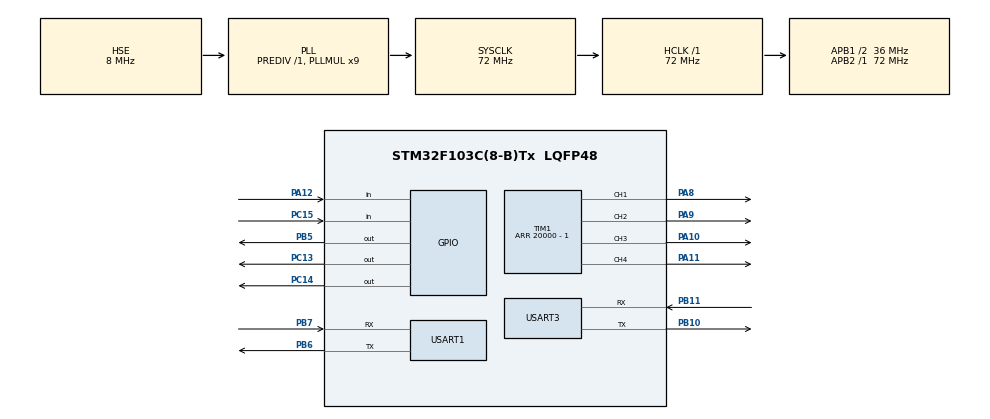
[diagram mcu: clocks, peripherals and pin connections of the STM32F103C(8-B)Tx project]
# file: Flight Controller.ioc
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Dma.Request0=USART3_RX
Dma.Request1=USART1_RX
Dma.USART1_RX.1.Direction=DMA_PERIPH_TO_MEMORY
Dma.USART1_RX.1.Instance=DMA1_Channel5
Dma.USART1_RX.1.MemDataAlignment=DMA_MDATAALIGN_BYTE
Dma.USART1_RX.1.MemInc=DMA_MINC_ENABLE
Dma.USART1_RX.1.Mode=DMA_CIRCULAR
Dma.USART1_RX.1.PeriphDataAlignment=DMA_PDATAALIGN_BYTE
Dma.USART1_RX.1.PeriphInc=DMA_PINC_DISABLE
Dma.USART1_RX.1.Priority=DMA_PRIORITY_LOW
Dma.USART3_RX.0.Direction=DMA_PERIPH_TO_MEMORY
Dma.USART3_RX.0.Instance=DMA1_Channel3
Dma.USART3_RX.0.MemDataAlignment=DMA_MDATAALIGN_BYTE
Dma.USART3_RX.0.MemInc=DMA_MINC_ENABLE
Dma.USART3_RX.0.Mode=DMA_CIRCULAR
Dma.USART3_RX.0.PeriphDataAlignment=DMA_PDATAALIGN_BYTE
Dma.USART3_RX.0.PeriphInc=DMA_PINC_DISABLE
Dma.USART3_RX.0.Priority=DMA_PRIORITY_LOW
Mcu.Family=STM32F1
Mcu.Name=STM32F103C(8-B)Tx
Mcu.Package=LQFP48
NVIC.DMA1_Channel3_IRQn=true\:1\:0\:true\:false\:true\:false\:true
NVIC.DMA1_Channel5_IRQn=true\:2\:0\:true\:false\:true\:false\:true
NVIC.PriorityGroup=NVIC_PRIORITYGROUP_4
PA10.Signal=S_TIM1_CH3
PA11.Signal=S_TIM1_CH4
PA12.GPIO_PuPd=GPIO_PULLUP
PA12.Signal=GPIO_Input
PA13.Mode=Serial_Wire
PA13.Signal=SYS_JTMS-SWDIO
PA14.Mode=Serial_Wire
PA14.Signal=SYS_JTCK-SWCLK
PA8.Signal=S_TIM1_CH1
PA9.Signal=S_TIM1_CH2
PB10.Mode=Asynchronous
PB10.Signal=USART3_TX
PB11.Mode=Asynchronous
PB11.Signal=USART3_RX
PB5.Signal=GPIO_Output
PB6.Mode=Asynchronous
PB6.Signal=USART1_TX
PB7.Mode=Asynchronous
PB7.Signal=USART1_RX
PC13-TAMPER-RTC.Signal=GPIO_Output
PC14-OSC32_IN.Signal=GPIO_Output
PC15-OSC32_OUT.GPIO_PuPd=GPIO_PULLUP
PC15-OSC32_OUT.Signal=GPIO_Input
PD0-OSC_IN.Mode=HSE-External-Oscillator
PD0-OSC_IN.Signal=RCC_OSC_IN
PD1-OSC_OUT.Mode=HSE-External-Oscillator
PD1-OSC_OUT.Signal=RCC_OSC_OUT
ProjectManager.HeapSize=0x200
ProjectManager.StackSize=0x400
ProjectManager.TargetToolchain=STM32CubeIDE
RCC.AHBFreq_Value=72000000
RCC.APB1CLKDivider=RCC_HCLK_DIV2
RCC.APB1Freq_Value=36000000
RCC.APB1TimFreq_Value=72000000
RCC.APB2Freq_Value=72000000
RCC.APB2TimFreq_Value=72000000
RCC.HCLKFreq_Value=72000000
RCC.PLLMUL=RCC_PLL_MUL9
RCC.PLLSourceVirtual=RCC_PLLSOURCE_HSE
RCC.SYSCLKFreq_VALUE=72000000
RCC.SYSCLKSource=RCC_SYSCLKSOURCE_PLLCLK
RCC.USBFreq_Value=72000000
SH.S_TIM1_CH1.0=TIM1_CH1,PWM Generation1 CH1
SH.S_TIM1_CH2.0=TIM1_CH2,PWM Generation2 CH2
SH.S_TIM1_CH3.0=TIM1_CH3,PWM Generation3 CH3
SH.S_TIM1_CH4.0=TIM1_CH4,PWM Generation4 CH4
TIM1.Channel-PWM\ Generation1\ CH1=TIM_CHANNEL_1
TIM1.Channel-PWM\ Generation2\ CH2=TIM_CHANNEL_2
TIM1.Channel-PWM\ Generation3\ CH3=TIM_CHANNEL_3
TIM1.Channel-PWM\ Generation4\ CH4=TIM_CHANNEL_4
TIM1.Period=20000 - 1
TIM1.Prescaler=(72000000/(50 * 20000))-1
USART1.VirtualMode=VM_ASYNC
USART3.VirtualMode=VM_ASYNC
board=custom

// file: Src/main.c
/* USER CODE BEGIN Header */
/**
  ******************************************************************************
  * @file           : main.c
  * @brief          : Main program body
  ******************************************************************************
  * @attention
  *
  * <h2><center>&copy; Copyright (c) 2019 STMicroelectronics.
  * All rights reserved.</center></h2>
  *
  * This software component is licensed by ST under BSD 3-Clause license,
  * the "License"; You may not use this file except in compliance with the
  * License. You may obtain a copy of the License at:
  *                        opensource.org/licenses/BSD-3-Clause
  *
  ******************************************************************************
 /*
 *  Created on: Sep 14, 2019
 *      Author: Renardi Adryantoro P
 				Polteknik elektronika negeri suarabaya
 				Computer Engineering 2016
*/

/* USER CODE END Header */

#include "main.h"
#include "stdio.h"
/* USER CODE BEGIN Includes */
#include "GlobalVariable.h"
/* USER CODE END Includes */

TIM_HandleTypeDef htim1;

UART_HandleTypeDef huart1;
UART_HandleTypeDef huart3;
DMA_HandleTypeDef hdma_usart1_rx;
DMA_HandleTypeDef hdma_usart3_rx;

/* USER CODE BEGIN PV */
varPID GyroYAW,GyroPITCH,GyroROLL;
int yawMAX,pitchMAX,rollMAX;
int prevMode;
char flagdroneARM;
char flagparsingIMU,flagparsingReceiver;
uint8_t data1[60];
/* USER CODE END PV */

void SystemClock_Config(void);
static void MX_GPIO_Init(void);
static void MX_DMA_Init(void);
static void MX_TIM1_Init(void);
static void MX_USART3_UART_Init(void);
static void MX_USART1_UART_Init(void);

/* USER CODE BEGIN 0 */
void buzzControl(int repeate,int delay){
static int rep;
rep = repeate;
digitalWrite(BuzzPORT,BuzzPIN,LOW);
	while(rep){
		digitalWrite(BuzzPORT,BuzzPIN,HIGH);
		HAL_Delay(delay);
		digitalWrite(BuzzPORT,BuzzPIN,LOW);
		HAL_Delay(delay);
	rep--;
	}
	digitalWrite(BuzzPORT,BuzzPIN,LOW);
}

void ledControl(int repeate,int delay){

static int rep;
rep = repeate;
digitalWrite(LED1PORT,LED1PIN,LOW);
	while(rep){
		digitalWrite(LED1PORT,LED1PIN,HIGH);
		HAL_Delay(delay);
		digitalWrite(LED1PORT,LED1PIN,LOW);
		HAL_Delay(delay);
	rep--;
	}
	digitalWrite(LED1PORT,LED1PIN,LOW);
}

/* USER CODE END 0 */

int main(void)
{

  /* MCU Configuration--------------------------------------------------------*/

  /* Reset of all peripherals, Initializes the Flash interface and the Systick. */
  HAL_Init();

  /* Configure the system clock */
  SystemClock_Config();

  /* Initialize all configured peripherals */
  MX_GPIO_Init();
  MX_DMA_Init();
  MX_TIM1_Init();
  MX_USART3_UART_Init();
  MX_USART1_UART_Init();
  /* USER CODE BEGIN 2 */
  InitializeTimer();
  InitSerialIMU_DMA();
  InitSerialReceiver_DMA();
  HAL_Delay(2500);

  resetIMU();
  digitalWrite(GPIOB,GPIO_PIN_5,HIGH);
    HAL_Delay(200);
    digitalWrite(GPIOB,GPIO_PIN_5,LOW);
    HAL_Delay(100);
    digitalWrite(GPIOB,GPIO_PIN_5,HIGH);
    HAL_Delay(50);
    digitalWrite(GPIOB,GPIO_PIN_5,LOW);

 //==Pid constanta===
  GyroYAW.kp = 0.02;   GyroYAW.kd = 0.00125; GyroYAW.ki = 0.000;

  GyroROLL.kp = 0.08; GyroROLL.kd = 0.0155; GyroROLL.ki = 0.00;

  GyroPITCH.kp = 0.06;GyroPITCH.kd = 0.015;GyroPITCH.ki = 0.0025;
 //==================

  //PID Setpoint Initiate
  GyroYAW.setPoint = GyroROLL.setPoint = GyroPITCH.setPoint = 0;
  //==================
  //init Essensial Variable
  yawReceive   = 400;
  pitchReceive = 50;
  rollReceive  = 50;

  //Bounding to ESC
  int InitializePulse = 1000;
	__HAL_TIM_SET_COMPARE(&htim1,TIM_CHANNEL_1,InitializePulse);
	__HAL_TIM_SET_COMPARE(&htim1,TIM_CHANNEL_2,InitializePulse);
	__HAL_TIM_SET_COMPARE(&htim1,TIM_CHANNEL_3,InitializePulse);
	__HAL_TIM_SET_COMPARE(&htim1,TIM_CHANNEL_4,InitializePulse);
	  HAL_Delay(2000);

  digitalWrite(GPIOB,GPIO_PIN_5,HIGH);
  HAL_Delay(200);
  digitalWrite(GPIOB,GPIO_PIN_5,LOW);
  HAL_Delay(200);
  digitalWrite(GPIOB,GPIO_PIN_5,HIGH);
  HAL_Delay(100);
  digitalWrite(GPIOB,GPIO_PIN_5,LOW);

  /* USER CODE END 2 */

  /* Infinite loop */
  while (1)
  {

    /* USER CODE BEGIN 3 */

		  //Button 1
		  if(digitalRead(BUTTON1PORT,BUTTON1PIN)==LOW){
			  HAL_Delay(1);
			  while(digitalRead(BUTTON1PORT,BUTTON1PIN)==LOW){}
			  if(digitalRead(BUTTON1PORT,BUTTON1PIN)==HIGH){ flagdroneARM=LOW; resetIMU();HAL_Delay(500);buzzControl(5,150);}
		  }
		  //BUtton 1 END

		  //Button 2
		  if(digitalRead(BUTTON2PORT,BUTTON2PIN)==LOW){
			  HAL_Delay(1);
			  while(digitalRead(BUTTON2PORT,BUTTON2PIN)==LOW){}
			  if(digitalRead(BUTTON2PORT,BUTTON2PIN)==HIGH){
				  if(flagdroneARM ==LOW) {flagdroneARM=HIGH;buzzControl(2,300);}
				  else if(flagdroneARM ==HIGH){ flagdroneARM=LOW;buzzControl(1,200);}
			  }
		  }
		  //BUtton 2 END

		  //Speed Mode
		 if(speedMode != prevMode){
			 if(speedMode == 1){pitchMAX=rollMAX = 5;buzzControl(1,100);}
			 else if(speedMode == 2){pitchMAX=rollMAX = 10;buzzControl(2,100);}
			 else if(speedMode == 3){pitchMAX=rollMAX = 15;buzzControl(3,100);}
			 else if(speedMode == 4){pitchMAX=rollMAX = 20;buzzControl(4,100);}
			 else if(speedMode == 0){pitchMAX=rollMAX = 0;buzzControl(1,300);}
			 prevMode = speedMode;
		 }
		 //SpeedMode end

		 // led notification
		 if(flagparsingReceiver !=1 || flagparsingIMU != 1){
			 if(flagparsingReceiver ==1 && flagparsingIMU !=1 ){ledControl(1,50);}
			 else if(flagparsingReceiver !=1 && flagparsingIMU ==1 ){ledControl(1,100);}
			 else if(flagparsingReceiver !=1 && flagparsingIMU !=1 ){ledControl(1,200);}
		 }
		 else digitalWrite(LED1PORT,LED1PIN,HIGH);
		 // led notification end

//		sprintf((char*)data1,"%d | %f | %f |\n",dataPitch,GyroPITCH.error,GyroPITCH.output);
//		HAL_UART_Transmit(&huart1,data1, sizeof(data1), 10);

		//sprintf((char*)data1,"%d | %.2f| %.2f | %.2f | %d | %d |\n",dataPitch,GyroPITCH.setPoint,GyroPITCH.error,GyroPITCH.output,RPMmotor1,RPMmotor2);
		// HAL_UART_Transmit(&huart1,data1, sizeof(data1), 10);
		// HAL_Delay(10);

  }
  /* USER CODE END 3 */
}

void SystemClock_Config(void)
{
  RCC_OscInitTypeDef RCC_OscInitStruct = {0};
  RCC_ClkInitTypeDef RCC_ClkInitStruct = {0};

  /** Initializes the CPU, AHB and APB busses clocks
  */
  RCC_OscInitStruct.OscillatorType = RCC_OSCILLATORTYPE_HSE;
  RCC_OscInitStruct.HSEState = RCC_HSE_ON;
  RCC_OscInitStruct.HSEPredivValue = RCC_HSE_PREDIV_DIV1;
  RCC_OscInitStruct.HSIState = RCC_HSI_ON;
  RCC_OscInitStruct.PLL.PLLState = RCC_PLL_ON;
  RCC_OscInitStruct.PLL.PLLSource = RCC_PLLSOURCE_HSE;
  RCC_OscInitStruct.PLL.PLLMUL = RCC_PLL_MUL9;
  if (HAL_RCC_OscConfig(&RCC_OscInitStruct) != HAL_OK)
  {
    Error_Handler();
  }
  /** Initializes the CPU, AHB and APB busses clocks
  */
  RCC_ClkInitStruct.ClockType = RCC_CLOCKTYPE_HCLK|RCC_CLOCKTYPE_SYSCLK
                              |RCC_CLOCKTYPE_PCLK1|RCC_CLOCKTYPE_PCLK2;
  RCC_ClkInitStruct.SYSCLKSource = RCC_SYSCLKSOURCE_PLLCLK;
  RCC_ClkInitStruct.AHBCLKDivider = RCC_SYSCLK_DIV1;
  RCC_ClkInitStruct.APB1CLKDivider = RCC_HCLK_DIV2;
  RCC_ClkInitStruct.APB2CLKDivider = RCC_HCLK_DIV1;

  if (HAL_RCC_ClockConfig(&RCC_ClkInitStruct, FLASH_LATENCY_2) != HAL_OK)
  {
    Error_Handler();
  }
}

static void MX_TIM1_Init(void)
{

  TIM_MasterConfigTypeDef sMasterConfig = {0};
  TIM_OC_InitTypeDef sConfigOC = {0};
  TIM_BreakDeadTimeConfigTypeDef sBreakDeadTimeConfig = {0};

  htim1.Instance = TIM1;
  htim1.Init.Prescaler = (72000000/(50 * 20000))-1;
  htim1.Init.CounterMode = TIM_COUNTERMODE_UP;
  htim1.Init.Period = 20000 - 1;
  htim1.Init.ClockDivision = TIM_CLOCKDIVISION_DIV1;
  htim1.Init.RepetitionCounter = 0;
  htim1.Init.AutoReloadPreload = TIM_AUTORELOAD_PRELOAD_DISABLE;
  if (HAL_TIM_PWM_Init(&htim1) != HAL_OK)
  {
    Error_Handler();
  }
  sMasterConfig.MasterOutputTrigger = TIM_TRGO_RESET;
  sMasterConfig.MasterSlaveMode = TIM_MASTERSLAVEMODE_DISABLE;
  if (HAL_TIMEx_MasterConfigSynchronization(&htim1, &sMasterConfig) != HAL_OK)
  {
    Error_Handler();
  }
  sConfigOC.OCMode = TIM_OCMODE_PWM1;
  sConfigOC.Pulse = 0;
  sConfigOC.OCPolarity = TIM_OCPOLARITY_HIGH;
  sConfigOC.OCNPolarity = TIM_OCNPOLARITY_HIGH;
  sConfigOC.OCFastMode = TIM_OCFAST_DISABLE;
  sConfigOC.OCIdleState = TIM_OCIDLESTATE_RESET;
  sConfigOC.OCNIdleState = TIM_OCNIDLESTATE_RESET;
  if (HAL_TIM_PWM_ConfigChannel(&htim1, &sConfigOC, TIM_CHANNEL_1) != HAL_OK)
  {
    Error_Handler();
  }
  if (HAL_TIM_PWM_ConfigChannel(&htim1, &sConfigOC, TIM_CHANNEL_2) != HAL_OK)
  {
    Error_Handler();
  }
  if (HAL_TIM_PWM_ConfigChannel(&htim1, &sConfigOC, TIM_CHANNEL_3) != HAL_OK)
  {
    Error_Handler();
  }
  if (HAL_TIM_PWM_ConfigChannel(&htim1, &sConfigOC, TIM_CHANNEL_4) != HAL_OK)
  {
    Error_Handler();
  }
  sBreakDeadTimeConfig.OffStateRunMode = TIM_OSSR_DISABLE;
  sBreakDeadTimeConfig.OffStateIDLEMode = TIM_OSSI_DISABLE;
  sBreakDeadTimeConfig.LockLevel = TIM_LOCKLEVEL_OFF;
  sBreakDeadTimeConfig.DeadTime = 0;
  sBreakDeadTimeConfig.BreakState = TIM_BREAK_DISABLE;
  sBreakDeadTimeConfig.BreakPolarity = TIM_BREAKPOLARITY_HIGH;
  sBreakDeadTimeConfig.AutomaticOutput = TIM_AUTOMATICOUTPUT_DISABLE;
  if (HAL_TIMEx_ConfigBreakDeadTime(&htim1, &sBreakDeadTimeConfig) != HAL_OK)
  {
    Error_Handler();
  }
  HAL_TIM_MspPostInit(&htim1);

}

static void MX_USART1_UART_Init(void)
{

  huart1.Instance = USART1;
  huart1.Init.BaudRate = 115200;
  huart1.Init.WordLength = UART_WORDLENGTH_8B;
  huart1.Init.StopBits = UART_STOPBITS_1;
  huart1.Init.Parity = UART_PARITY_NONE;
  huart1.Init.Mode = UART_MODE_TX_RX;
  huart1.Init.HwFlowCtl = UART_HWCONTROL_NONE;
  huart1.Init.OverSampling = UART_OVERSAMPLING_16;
  if (HAL_UART_Init(&huart1) != HAL_OK)
  {
    Error_Handler();
  }

}

static void MX_USART3_UART_Init(void)
{

  huart3.Instance = USART3;
  huart3.Init.BaudRate = 115200;
  huart3.Init.WordLength = UART_WORDLENGTH_8B;
  huart3.Init.StopBits = UART_STOPBITS_1;
  huart3.Init.Parity = UART_PARITY_NONE;
  huart3.Init.Mode = UART_MODE_TX_RX;
  huart3.Init.HwFlowCtl = UART_HWCONTROL_NONE;
  huart3.Init.OverSampling = UART_OVERSAMPLING_16;
  if (HAL_UART_Init(&huart3) != HAL_OK)
  {
    Error_Handler();
  }

}

static void MX_DMA_Init(void)
{

  /* DMA controller clock enable */
  __HAL_RCC_DMA1_CLK_ENABLE();

  /* DMA interrupt init */
  /* DMA1_Channel3_IRQn interrupt configuration */
  HAL_NVIC_SetPriority(DMA1_Channel3_IRQn, 1, 0);
  HAL_NVIC_EnableIRQ(DMA1_Channel3_IRQn);
  /* DMA1_Channel5_IRQn interrupt configuration */
  HAL_NVIC_SetPriority(DMA1_Channel5_IRQn, 2, 0);
  HAL_NVIC_EnableIRQ(DMA1_Channel5_IRQn);

}

static void MX_GPIO_Init(void)
{
  GPIO_InitTypeDef GPIO_InitStruct = {0};

  /* GPIO Ports Clock Enable */
  __HAL_RCC_GPIOC_CLK_ENABLE();
  __HAL_RCC_GPIOD_CLK_ENABLE();
  __HAL_RCC_GPIOB_CLK_ENABLE();
  __HAL_RCC_GPIOA_CLK_ENABLE();

  /*Configure GPIO pin Output Level */
  HAL_GPIO_WritePin(GPIOC, GPIO_PIN_13|GPIO_PIN_14, GPIO_PIN_RESET);

  /*Configure GPIO pin Output Level */
  HAL_GPIO_WritePin(GPIOB, GPIO_PIN_5, GPIO_PIN_RESET);

  /*Configure GPIO pins : PC13 PC14 */
  GPIO_InitStruct.Pin = GPIO_PIN_13|GPIO_PIN_14;
  GPIO_InitStruct.Mode = GPIO_MODE_OUTPUT_PP;
  GPIO_InitStruct.Pull = GPIO_NOPULL;
  GPIO_InitStruct.Speed = GPIO_SPEED_FREQ_LOW;
  HAL_GPIO_Init(GPIOC, &GPIO_InitStruct);

  /*Configure GPIO pin : PC15 */
  GPIO_InitStruct.Pin = GPIO_PIN_15;
  GPIO_InitStruct.Mode = GPIO_MODE_INPUT;
  GPIO_InitStruct.Pull = GPIO_PULLUP;
  HAL_GPIO_Init(GPIOC, &GPIO_InitStruct);

  /*Configure GPIO pin : PA12 */
  GPIO_InitStruct.Pin = GPIO_PIN_12;
  GPIO_InitStruct.Mode = GPIO_MODE_INPUT;
  GPIO_InitStruct.Pull = GPIO_PULLUP;
  HAL_GPIO_Init(GPIOA, &GPIO_InitStruct);

  /*Configure GPIO pin : PB5 */
  GPIO_InitStruct.Pin = GPIO_PIN_5;
  GPIO_InitStruct.Mode = GPIO_MODE_OUTPUT_PP;
  GPIO_InitStruct.Pull = GPIO_NOPULL;
  GPIO_InitStruct.Speed = GPIO_SPEED_FREQ_LOW;
  HAL_GPIO_Init(GPIOB, &GPIO_InitStruct);

}

/* USER CODE BEGIN 4 */
void HAL_UART_RxCpltCallback(UART_HandleTypeDef *huart){
	if(huart->Instance==huart1.Instance){
		Parsing_Receiver();
	}
	if(huart->Instance==huart3.Instance){
		Parsing_IMU();
		}
}
/* USER CODE END 4 */

void Error_Handler(void)
{
}

/************************ (C) COPYRIGHT STMicroelectronics *****END OF FILE****/
